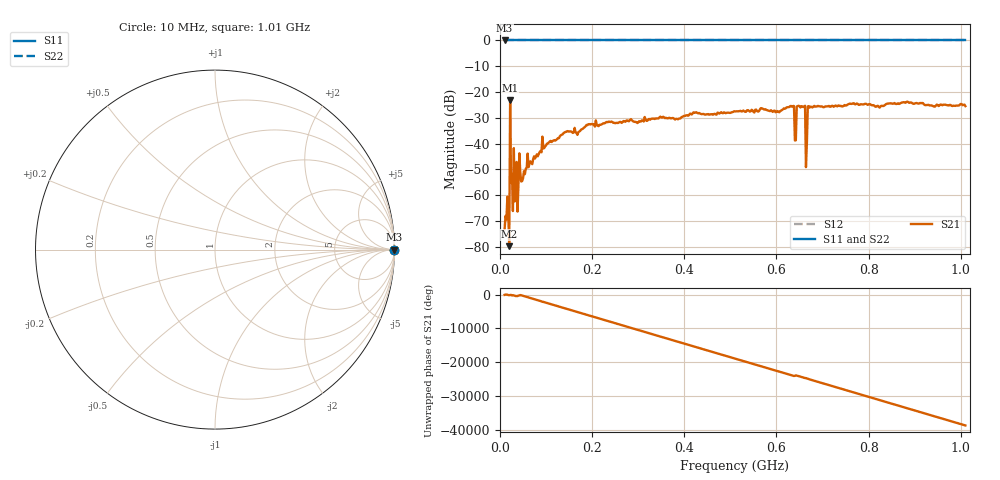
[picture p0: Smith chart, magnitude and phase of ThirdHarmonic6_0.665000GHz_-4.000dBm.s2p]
! 8/15/2025 10:06:29 PM
! C:\ANRITSUVNA\TEMP\TEMP.S2P
! CHANNEL.1
! TR.MEASUREMENT
! RAW.DATA
! RF.CORRECTION.OFF
! AVERAGING.OFF
! IF.BANDWIDTH: 5KHZ
! SWEEPTYPE:  FREQ.SWEEP(Linear)
! Reference Plane Port Info
! PORT:  PORT1  PORT2
! DISTANCE:  0  m  0  m
! TIME:  0  s  0  s
! PHASE.OFFSET:  0  deg.  0  deg.
! LOSS:  0  dB  0  dB
! REF.LOSS:  0  dB  0  dB
! REF.FREQ:  0  Hz  0  Hz
! Power Info
! POWER:  -20  dBm  -20  dBm
! EFF.POWER:  -20  dBm  -20  dBm
! SOURCE.ATTEN:  0  dB  0  dB
! TEST.ATTEN:  0  dB  0  dB
# GHZ S RI R 50.0
! FREQ.GHZ  S11RE  S11IM  S21RE  S21IM  S12RE  S12IM  S22RE  S22IM
!; PortSelection: Port_12
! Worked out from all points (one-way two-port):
!   501 points, 10 MHz to 1.01 GHz, reference 50 ohm
!   highest |S21| = -23.20 dB at 22 MHz (marker M1); lowest = -79.8 dB at 20 MHz (marker M2)
!   lowest |S11| = 0.0 dB at 10 MHz (marker M3)
!   |S11| at or under -10 dB: nowhere
!   |S22| runs from 0.0 to 0.0 dB; largest |S21 - S12| = 1.1
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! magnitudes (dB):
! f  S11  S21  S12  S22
! 10 MHz  0.0  -73.2  0.0  0.0
! 16 MHz  0.0  -60.6  0.0  0.0
! 20 MHz  0.0  -79.8  0.0  0.0
! 22 MHz  0.0  -23.2  0.0  0.0
! 26 MHz  0.0  -51.8  0.0  0.0
! 28 MHz  0.0  -66.2  0.0  0.0
! 36 MHz  0.0  -47.1  0.0  0.0
! 40 MHz  0.0  -56.1  0.0  0.0
! 96 MHz  0.0  -41.7  0.0  0.0
! 178 MHz  0.0  -34.4  0.0  0.0
! 344 MHz  0.0  -30.3  0.0  0.0
! 510 MHz  0.0  -27.5  0.0  0.0
! 634 MHz  0.0  -25.7  0.0  0.0
! 644 MHz  0.0  -25.6  0.0  0.0
! 648 MHz  0.0  -25.3  0.0  0.0
! 658 MHz  0.0  -25.8  0.0  0.0
! 662 MHz  0.0  -25.3  0.0  0.0
! 668 MHz  0.0  -25.6  0.0  0.0
! 672 MHz  0.0  -26.1  0.0  0.0
! 678 MHz  0.0  -26.0  0.0  0.0
! 844 MHz  0.0  -24.4  0.0  0.0
! 1.01 GHz  0.0  -25.5  0.0  0.0
